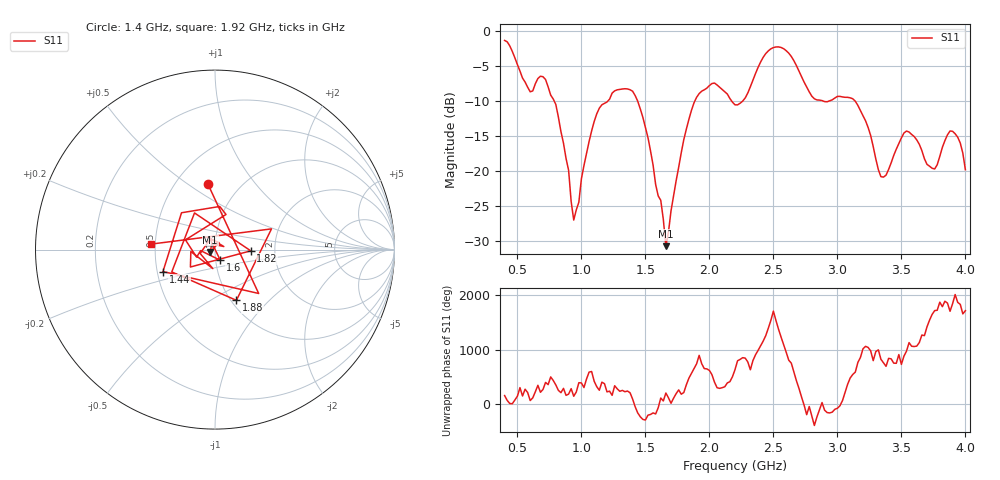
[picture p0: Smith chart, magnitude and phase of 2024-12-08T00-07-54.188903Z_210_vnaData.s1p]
!Created with skrf (http://scikit-rf.org).
# Hz S RI R 50.0
!freq ReS11 ImS11
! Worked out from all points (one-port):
!   181 points, 400 MHz to 4 GHz, reference 50 ohm
!   lowest |S11| = -30.7 dB at 1.66 GHz (marker M1), VSWR 1.06, Z = 47.4 - j1.23 ohm
!   |S11| at or under -10 dB: 786.8 MHz to 1.208 GHz (421 MHz wide, 42.2 % of centre); 1.439 GHz to 1.887 GHz (447.9 MHz wide, 26.9 % of centre); 3.137 GHz to end of sweep (the widest 3 of 5)
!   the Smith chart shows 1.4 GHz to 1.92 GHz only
!   S11 on the Smith chart (normalised r, x): 1.4 GHz: 0.71, +0.60; 1.44 GHz: 0.54, -0.15; 1.6 GHz: 1.05, -0.13; 1.82 GHz: 1.50, -0.02; 1.88 GHz: 1.06, -0.66; 1.92 GHz: 0.48, +0.03
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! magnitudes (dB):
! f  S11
! 400 MHz  -1.4
! 600 MHz  -8.7
! 720 MHz  -7.0
! 860 MHz  -16.0
! 940 MHz  -27.0
! 1.12 GHz  -11.8
! 1.3 GHz  -8.4
! 1.4 GHz  -8.6
! 1.44 GHz  -10.0
! 1.6 GHz  -23.5
! 1.62 GHz  -24.2
! 1.66 GHz  -30.7
! 1.76 GHz  -19.4
! 1.82 GHz  -14.0
! 1.88 GHz  -10.3
! 1.92 GHz  -9.0
! 2.04 GHz  -7.5
! 2.2 GHz  -10.6
! 2.48 GHz  -2.6
! 2.66 GHz  -4.3
! 2.82 GHz  -9.7
! 3.1 GHz  -9.6
! 3.22 GHz  -12.8
! 3.34 GHz  -20.8
! 3.56 GHz  -14.4
! 3.76 GHz  -19.7
! 3.9 GHz  -14.3
! 4 GHz  -19.8
